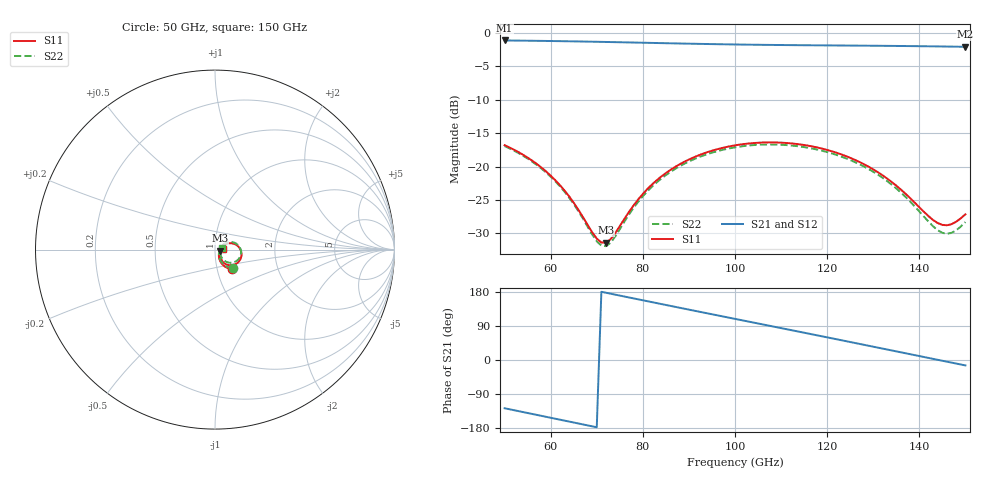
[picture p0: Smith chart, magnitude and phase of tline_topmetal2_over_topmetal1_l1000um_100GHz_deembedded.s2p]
! Created with skrf 2.0.1 (http://scikit-rf.org).
# GHz S DB R 50.0
!freq dBS11 angS11 dBS21 angS21 dBS12 angS12 dBS22 angS22
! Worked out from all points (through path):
!   101 points, 50 GHz to 150 GHz, reference 50 ohm
!   highest |S21| = -1.12 dB at 50 GHz (marker M1); lowest = -2.1 dB at 150 GHz (marker M2)
!   group delay of S21, straight-line fit = 6.84 ps
!   lowest |S11| = -31.4 dB at 72 GHz (marker M3), VSWR 1.06, Z = 52.7 - j0.659 ohm
!   |S11| at or under -10 dB: start of sweep to end of sweep
!   |S22| runs from -31.9 to -16.7 dB; largest |S21 - S12| = 1.4e-13
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50  -16.80 -49.0  -1.12 -127.4  -1.12 -127.4  -16.94 -46.5
55  -18.66 -57.9  -1.16 -139.9  -1.16 -139.9  -18.81 -55.2
60  -21.36 -64.5  -1.21 -152.4  -1.21 -152.4  -21.52 -61.6
64  -24.46 -65.3  -1.25 -162.5  -1.25 -162.5  -24.64 -62.5
67  -27.56 -59.1  -1.28 -170.0  -1.28 -170.0  -27.79 -56.5
70  -30.79 -37.8  -1.32 -177.5  -1.32 -177.5  -31.19 -35.2
71  -31.37 -26.1  -1.33 180.0  -1.33 180.0  -31.84 -23.2
72  -31.40 -13.4  -1.35 177.5  -1.35 177.5  -31.92 -9.9
74  -29.98 7.8  -1.37 172.5  -1.37 172.5  -30.47 12.4
79  -24.91 25.9  -1.45 160.1  -1.45 160.1  -25.26 31.3
84  -21.49 24.4  -1.52 147.7  -1.52 147.7  -21.80 30.0
91  -18.63 14.4  -1.62 130.5  -1.62 130.5  -18.93 20.3
100  -16.82 -2.0  -1.72 108.5  -1.72 108.5  -17.12 4.4
108  -16.39 -17.5  -1.79 89.1  -1.79 89.1  -16.69 -10.7
112  -16.52 -25.2  -1.82 79.3  -1.82 79.3  -16.83 -18.2
117  -17.02 -34.5  -1.85 67.1  -1.85 67.1  -17.34 -27.4
126  -18.99 -49.6  -1.89 45.0  -1.89 45.0  -19.32 -42.4
134  -22.30 -57.5  -1.94 25.3  -1.94 25.3  -22.70 -50.8
142  -27.43 -44.5  -2.00 5.5  -2.00 5.5  -28.25 -38.9
145  -28.73 -26.7  -2.02 -2.0  -2.02 -2.0  -29.92 -19.7
147  -28.62 -12.7  -2.04 -6.9  -2.04 -6.9  -29.92 -3.6
150  -27.15 3.6  -2.07 -14.3  -2.07 -14.3  -28.30 15.2
